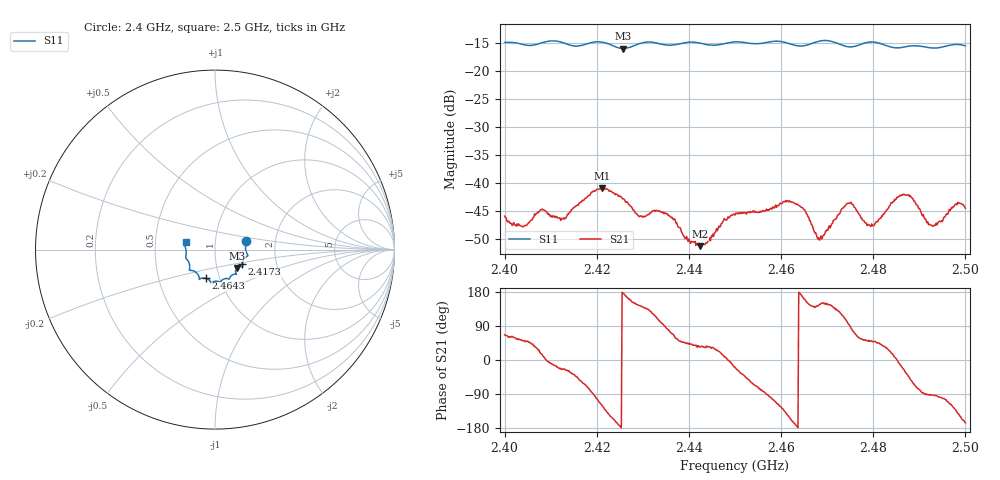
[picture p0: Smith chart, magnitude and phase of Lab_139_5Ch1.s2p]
# Hz S RI R 50
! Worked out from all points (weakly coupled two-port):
!   601 points, 2.4 GHz to 2.5 GHz, reference 50 ohm
!   highest |S21| = -40.89 dB at 2.4212 GHz (marker M1); lowest = -51.2 dB at 2.4423 GHz (marker M2)
!   lowest |S11| = -15.9 dB at 2.4257 GHz (marker M3), VSWR 1.38, Z = 62.4 - j13.1 ohm
!   |S11| at or under -10 dB: start of sweep to end of sweep
!   S12 and S22 are empty: the file has one direction only
!   S11 on the Smith chart (normalised r, x): 2.4 GHz: 1.41, +0.14; 2.4173 GHz: 1.34, -0.23; 2.4643 GHz: 0.86, -0.28; 2.5 GHz: 0.72, +0.06
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2.4e9  0.1739 0.0492  0.00203 0.00466  0 0  0 0
2.403833e9  0.1721 0.0264  0.0026 0.0032  0 0  0 0
2.408167e9  0.1785 -0.0226  0.00572 0.00141  0 0  0 0
2.412667e9  0.1757 -0.039  0.0044 -0.00192  0 0  0 0
2.416667e9  0.1528 -0.0747  0.00376 -0.00564  0 0  0 0
2.417333e9  0.1522 -0.0822  0.00319 -0.00645  0 0  0 0
2.421167e9  0.1542 -0.0963  -0.00456 -0.00779  0 0  0 0
2.425667e9  0.1221 -0.1026  -0.00722 0.000426  0 0  0 0
2.429333e9  0.1163 -0.1334  -0.00406 0.00304  0 0  0 0
2.433333e9  0.1128 -0.1364  -0.00167 0.0054  0 0  0 0
2.442333e9  0.0731 -0.1632  0.00223 0.00159  0 0  0 0
2.45e9  0.0293 -0.1806  0.00491 -0.00168  0 0  0 0
2.464333e9  -0.0503 -0.1604  -0.00604 0.000825  0 0  0 0
2.466667e9  -0.0763 -0.1595  -0.00335 0.0026  0 0  0 0
2.4685e9  -0.0865 -0.1652  -0.00269 0.00176  0 0  0 0
2.474667e9  -0.1031 -0.1292  -0.00053 0.00663  0 0  0 0
2.479667e9  -0.1424 -0.1145  0.00274 0.00335  0 0  0 0
2.483333e9  -0.1406 -0.0897  0.00542 0.00265  0 0  0 0
2.487667e9  -0.1589 -0.0526  0.00571 -0.00542  0 0  0 0
2.493e9  -0.1605 -0.0138  -0.000206 -0.00412  0 0  0 0
2.498167e9  -0.1707 0.0321  -0.00472 -0.00434  0 0  0 0
2.5e9  -0.1636 0.0416  -0.00578 -0.00147  0 0  0 0
